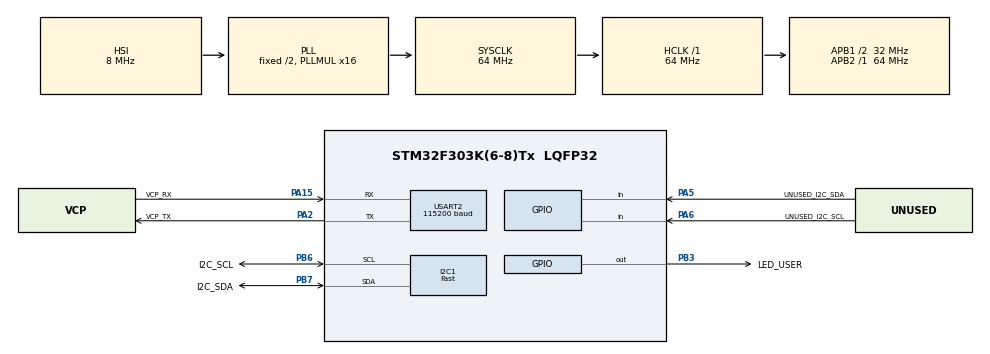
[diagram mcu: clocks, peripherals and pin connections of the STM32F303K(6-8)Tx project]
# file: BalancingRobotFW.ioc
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I2C1.I2C_Speed_Mode=I2C_Fast
I2C1.Timing=0x0000020B
Mcu.Family=STM32F3
Mcu.Name=STM32F303K(6-8)Tx
Mcu.Package=LQFP32
NVIC.PriorityGroup=NVIC_PRIORITYGROUP_4
PA13.GPIO_Label=SWDIO
PA13.Mode=Serial_Wire
PA13.Signal=SYS_JTMS-SWDIO
PA14.GPIO_Label=SWCLK
PA14.Mode=Serial_Wire
PA14.Signal=SYS_JTCK-SWCLK
PA15.GPIO_Label=VCP_RX
PA15.Mode=Asynchronous
PA15.Signal=USART2_RX
PA2.GPIO_Label=VCP_TX
PA2.Mode=Asynchronous
PA2.Signal=USART2_TX
PA5.GPIO_Label=UNUSED_I2C_SDA
PA5.Signal=GPIO_Input
PA6.GPIO_Label=UNUSED_I2C_SCL
PA6.Signal=GPIO_Input
PB3.GPIO_Label=LED_USER
PB3.PinState=GPIO_PIN_SET
PB3.Signal=GPIO_Output
PB6.GPIO_Label=I2C_SCL
PB6.Mode=I2C
PB6.Signal=I2C1_SCL
PB7.GPIO_Label=I2C_SDA
PB7.Mode=I2C
PB7.Signal=I2C1_SDA
PF0\ /\ OSC_IN.GPIO_Label=MCO
PF0\ /\ OSC_IN.Mode=HSE-External-Clock-Source
PF0\ /\ OSC_IN.Signal=RCC_OSC_IN
ProjectManager.HeapSize=0x200
ProjectManager.StackSize=0x400
ProjectManager.TargetToolchain=SW4STM32
RCC.AHBFreq_Value=64000000
RCC.APB1CLKDivider=RCC_HCLK_DIV2
RCC.APB1Freq_Value=32000000
RCC.APB1TimFreq_Value=64000000
RCC.APB2Freq_Value=64000000
RCC.APB2TimFreq_Value=64000000
RCC.CortexFreq_Value=64000000
RCC.HCLKFreq_Value=64000000
RCC.HSE_VALUE=8000000
RCC.HSI_VALUE=8000000
RCC.PLLMUL=RCC_PLL_MUL16
RCC.SYSCLKFreq_VALUE=64000000
RCC.SYSCLKSourceVirtual=RCC_SYSCLKSOURCE_PLLCLK
USART2.BaudRate=115200
USART2.VirtualMode-Asynchronous=VM_ASYNC
USART2.WordLength=WORDLENGTH_8B
board=NUCLEO-F303K8

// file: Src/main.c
/**
  ******************************************************************************
  * @file           : main.c
  * @brief          : Main program body
  ******************************************************************************
  ** This notice applies to any and all portions of this file
  * that are not between comment pairs USER CODE BEGIN and
  * USER CODE END. Other portions of this file, whether
  * inserted by the user or by software development tools
  * are owned by their respective copyright owners.
  *
  * COPYRIGHT(c) 2018 STMicroelectronics
  *
  * Redistribution and use in source and binary forms, with or without modification,
  * are permitted provided that the following conditions are met:
  *   1. Redistributions of source code must retain the above copyright notice,
  *      this list of conditions and the following disclaimer.
  *   2. Redistributions in binary form must reproduce the above copyright notice,
  *      this list of conditions and the following disclaimer in the documentation
  *      and/or other materials provided with the distribution.
  *   3. Neither the name of STMicroelectronics nor the names of its contributors
  *      may be used to endorse or promote products derived from this software
  *      without specific prior written permission.
  *
  * THIS SOFTWARE IS PROVIDED BY THE COPYRIGHT HOLDERS AND CONTRIBUTORS "AS IS"
  * AND ANY EXPRESS OR IMPLIED WARRANTIES, INCLUDING, BUT NOT LIMITED TO, THE
  * IMPLIED WARRANTIES OF MERCHANTABILITY AND FITNESS FOR A PARTICULAR PURPOSE ARE
  * DISCLAIMED. IN NO EVENT SHALL THE COPYRIGHT HOLDER OR CONTRIBUTORS BE LIABLE
  * FOR ANY DIRECT, INDIRECT, INCIDENTAL, SPECIAL, EXEMPLARY, OR CONSEQUENTIAL
  * DAMAGES (INCLUDING, BUT NOT LIMITED TO, PROCUREMENT OF SUBSTITUTE GOODS OR
  * SERVICES; LOSS OF USE, DATA, OR PROFITS; OR BUSINESS INTERRUPTION) HOWEVER
  * CAUSED AND ON ANY THEORY OF LIABILITY, WHETHER IN CONTRACT, STRICT LIABILITY,
  * OR TORT (INCLUDING NEGLIGENCE OR OTHERWISE) ARISING IN ANY WAY OUT OF THE USE
  * OF THIS SOFTWARE, EVEN IF ADVISED OF THE POSSIBILITY OF SUCH DAMAGE.
  *
  ******************************************************************************
  */
#include "main.h"
#include "stm32f3xx_hal.h"

/* USER CODE BEGIN Includes */
#include  <errno.h>
#include  <sys/unistd.h> // STDOUT_FILENO, STDERR_FILENO

#include "IMU/IMU.h"

#include "Tools/Log.h"
/* USER CODE END Includes */

I2C_HandleTypeDef hi2c1;

UART_HandleTypeDef huart2;

/* USER CODE BEGIN PV */
/* Private variables ---------------------------------------------------------*/

/* USER CODE END PV */

void SystemClock_Config(void);
static void MX_GPIO_Init(void);
static void MX_USART2_UART_Init(void);
static void MX_I2C1_Init(void);

/* USER CODE BEGIN PFP */
/* Private function prototypes -----------------------------------------------*/

/* USER CODE END PFP */

/* USER CODE BEGIN 0 */
int _write(int file, char *data, int len)
{
   if ((file != STDOUT_FILENO) && (file != STDERR_FILENO))
   {
      errno = EBADF;
      return -1;
   }

   // arbitrary timeout 1000
   HAL_StatusTypeDef status =
      HAL_UART_Transmit(&huart2, (uint8_t*)data, len, 1000);

   // return # of bytes written - as best we can tell
   return (status == HAL_OK ? len : 0);
}
/* USER CODE END 0 */

int main(void)
{

  /* MCU Configuration----------------------------------------------------------*/

  /* Reset of all peripherals, Initializes the Flash interface and the Systick. */
  HAL_Init();

  /* Configure the system clock */
  SystemClock_Config();

  /* Initialize all configured peripherals */
  MX_GPIO_Init();
  MX_USART2_UART_Init();
  MX_I2C1_Init();
  /* USER CODE BEGIN 2 */

  /* Init IMU */
  IMU_Init();

  /* USER CODE END 2 */

  /* Infinite loop */
  /* USER CODE BEGIN WHILE */

  float Yaw, Pitch, Roll;

  while (1)
  {

  /* USER CODE END WHILE */

  /* USER CODE BEGIN 3 */

	  /* Read orientation */
	  IMU_GetOrientation(NULL, NULL, NULL);
//	  GetEulerAngle(&Roll, &Pitch, &Yaw);
//	  printf("Roll = %+1.3f, Pitch = %+1.3f, Yaw = %+1.3f\r\n", Roll, Pitch, Yaw);

	  HAL_GPIO_TogglePin(LED_USER_GPIO_Port, LED_USER_Pin);
	  HAL_Delay(100);
  }
  /* USER CODE END 3 */

}

void SystemClock_Config(void)
{

  RCC_OscInitTypeDef RCC_OscInitStruct;
  RCC_ClkInitTypeDef RCC_ClkInitStruct;
  RCC_PeriphCLKInitTypeDef PeriphClkInit;

    /**Initializes the CPU, AHB and APB busses clocks
    */
  RCC_OscInitStruct.OscillatorType = RCC_OSCILLATORTYPE_HSI;
  RCC_OscInitStruct.HSIState = RCC_HSI_ON;
  RCC_OscInitStruct.HSICalibrationValue = 16;
  RCC_OscInitStruct.PLL.PLLState = RCC_PLL_ON;
  RCC_OscInitStruct.PLL.PLLSource = RCC_PLLSOURCE_HSI;
  RCC_OscInitStruct.PLL.PLLMUL = RCC_PLL_MUL16;
  if (HAL_RCC_OscConfig(&RCC_OscInitStruct) != HAL_OK)
  {
    _Error_Handler(__FILE__, __LINE__);
  }

    /**Initializes the CPU, AHB and APB busses clocks
    */
  RCC_ClkInitStruct.ClockType = RCC_CLOCKTYPE_HCLK|RCC_CLOCKTYPE_SYSCLK
                              |RCC_CLOCKTYPE_PCLK1|RCC_CLOCKTYPE_PCLK2;
  RCC_ClkInitStruct.SYSCLKSource = RCC_SYSCLKSOURCE_PLLCLK;
  RCC_ClkInitStruct.AHBCLKDivider = RCC_SYSCLK_DIV1;
  RCC_ClkInitStruct.APB1CLKDivider = RCC_HCLK_DIV2;
  RCC_ClkInitStruct.APB2CLKDivider = RCC_HCLK_DIV1;

  if (HAL_RCC_ClockConfig(&RCC_ClkInitStruct, FLASH_LATENCY_2) != HAL_OK)
  {
    _Error_Handler(__FILE__, __LINE__);
  }

  PeriphClkInit.PeriphClockSelection = RCC_PERIPHCLK_I2C1;
  PeriphClkInit.I2c1ClockSelection = RCC_I2C1CLKSOURCE_HSI;
  if (HAL_RCCEx_PeriphCLKConfig(&PeriphClkInit) != HAL_OK)
  {
    _Error_Handler(__FILE__, __LINE__);
  }

    /**Configure the Systick interrupt time
    */
  HAL_SYSTICK_Config(HAL_RCC_GetHCLKFreq()/1000);

    /**Configure the Systick
    */
  HAL_SYSTICK_CLKSourceConfig(SYSTICK_CLKSOURCE_HCLK);

  /* SysTick_IRQn interrupt configuration */
  HAL_NVIC_SetPriority(SysTick_IRQn, 0, 0);
}

/* I2C1 init function */
static void MX_I2C1_Init(void)
{

  hi2c1.Instance = I2C1;
  hi2c1.Init.Timing = 0x0000020B;
  hi2c1.Init.OwnAddress1 = 0;
  hi2c1.Init.AddressingMode = I2C_ADDRESSINGMODE_7BIT;
  hi2c1.Init.DualAddressMode = I2C_DUALADDRESS_DISABLE;
  hi2c1.Init.OwnAddress2 = 0;
  hi2c1.Init.OwnAddress2Masks = I2C_OA2_NOMASK;
  hi2c1.Init.GeneralCallMode = I2C_GENERALCALL_DISABLE;
  hi2c1.Init.NoStretchMode = I2C_NOSTRETCH_DISABLE;
  if (HAL_I2C_Init(&hi2c1) != HAL_OK)
  {
    _Error_Handler(__FILE__, __LINE__);
  }

    /**Configure Analogue filter
    */
  if (HAL_I2CEx_ConfigAnalogFilter(&hi2c1, I2C_ANALOGFILTER_ENABLE) != HAL_OK)
  {
    _Error_Handler(__FILE__, __LINE__);
  }

    /**Configure Digital filter
    */
  if (HAL_I2CEx_ConfigDigitalFilter(&hi2c1, 0) != HAL_OK)
  {
    _Error_Handler(__FILE__, __LINE__);
  }

}

/* USART2 init function */
static void MX_USART2_UART_Init(void)
{

  huart2.Instance = USART2;
  huart2.Init.BaudRate = 115200;
  huart2.Init.WordLength = UART_WORDLENGTH_8B;
  huart2.Init.StopBits = UART_STOPBITS_1;
  huart2.Init.Parity = UART_PARITY_NONE;
  huart2.Init.Mode = UART_MODE_TX_RX;
  huart2.Init.HwFlowCtl = UART_HWCONTROL_NONE;
  huart2.Init.OverSampling = UART_OVERSAMPLING_16;
  huart2.Init.OneBitSampling = UART_ONE_BIT_SAMPLE_DISABLE;
  huart2.AdvancedInit.AdvFeatureInit = UART_ADVFEATURE_NO_INIT;
  if (HAL_UART_Init(&huart2) != HAL_OK)
  {
    _Error_Handler(__FILE__, __LINE__);
  }

}

/** Configure pins as
        * Analog
        * Input
        * Output
        * EVENT_OUT
        * EXTI
*/
static void MX_GPIO_Init(void)
{

  GPIO_InitTypeDef GPIO_InitStruct;

  /* GPIO Ports Clock Enable */
  __HAL_RCC_GPIOF_CLK_ENABLE();
  __HAL_RCC_GPIOA_CLK_ENABLE();
  __HAL_RCC_GPIOB_CLK_ENABLE();

  /*Configure GPIO pin Output Level */
  HAL_GPIO_WritePin(LED_USER_GPIO_Port, LED_USER_Pin, GPIO_PIN_SET);

  /*Configure GPIO pins : UNUSED_I2C_SDA_Pin UNUSED_I2C_SCL_Pin */
  GPIO_InitStruct.Pin = UNUSED_I2C_SDA_Pin|UNUSED_I2C_SCL_Pin;
  GPIO_InitStruct.Mode = GPIO_MODE_INPUT;
  GPIO_InitStruct.Pull = GPIO_NOPULL;
  HAL_GPIO_Init(GPIOA, &GPIO_InitStruct);

  /*Configure GPIO pin : LED_USER_Pin */
  GPIO_InitStruct.Pin = LED_USER_Pin;
  GPIO_InitStruct.Mode = GPIO_MODE_OUTPUT_PP;
  GPIO_InitStruct.Pull = GPIO_NOPULL;
  GPIO_InitStruct.Speed = GPIO_SPEED_FREQ_LOW;
  HAL_GPIO_Init(LED_USER_GPIO_Port, &GPIO_InitStruct);

}

void _Error_Handler(char *file, int line)
{
  while(1)
  {
  }
}

/************************ (C) COPYRIGHT STMicroelectronics *****END OF FILE****/
